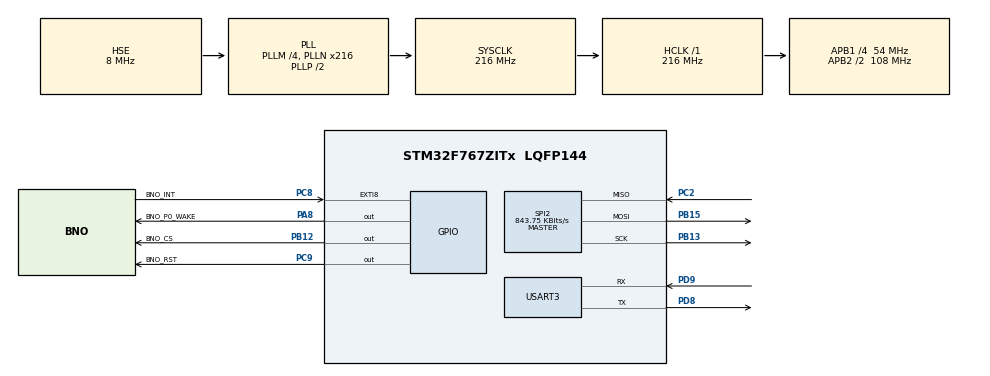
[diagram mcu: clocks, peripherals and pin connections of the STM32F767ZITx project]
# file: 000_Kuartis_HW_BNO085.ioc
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CORTEX_M7.default_mode_Activation=1
FREERTOS.Tasks01=SensorTask,24,512,StartSensorTask,Default,NULL,Dynamic,NULL,NULL;CommunicationTask,16,512,StartCommunicationTask,Default,NULL,Dynamic,NULL,NULL
FREERTOS.configCHECK_FOR_STACK_OVERFLOW=2
FREERTOS.configMAX_TASK_NAME_LEN=50
FREERTOS.configUSE_MALLOC_FAILED_HOOK=1
Mcu.Family=STM32F7
Mcu.Name=STM32F767ZITx
Mcu.Package=LQFP144
NVIC.EXTI9_5_IRQn=true\:6\:0\:true\:false\:true\:true\:true\:true\:true
NVIC.PriorityGroup=NVIC_PRIORITYGROUP_4
NVIC.TIM6_DAC_IRQn=true\:15\:0\:false\:false\:true\:false\:false\:true\:true
NVIC.TimeBase=TIM6_DAC_IRQn
NVIC.TimeBaseIP=TIM6
NVIC.USART3_IRQn=true\:7\:0\:true\:false\:true\:true\:true\:true\:true
PA13.Mode=Serial_Wire
PA13.Signal=SYS_JTMS-SWDIO
PA14.Mode=Serial_Wire
PA14.Signal=SYS_JTCK-SWCLK
PA8.GPIO_Label=BNO_P0_WAKE
PA8.PinState=GPIO_PIN_SET
PA8.Signal=GPIO_Output
PB12.GPIO_Label=BNO_CS
PB12.PinState=GPIO_PIN_SET
PB12.Signal=GPIO_Output
PB13.Mode=Full_Duplex_Master
PB13.Signal=SPI2_SCK
PB15.Mode=Full_Duplex_Master
PB15.Signal=SPI2_MOSI
PC2.Mode=Full_Duplex_Master
PC2.Signal=SPI2_MISO
PC8.GPIO_Label=BNO_INT
PC8.GPIO_ModeDefaultEXTI=GPIO_MODE_IT_FALLING
PC8.Signal=GPXTI8
PC9.GPIO_Label=BNO_RST
PC9.PinState=GPIO_PIN_SET
PC9.Signal=GPIO_Output
PD8.Mode=Asynchronous
PD8.Signal=USART3_TX
PD9.Mode=Asynchronous
PD9.Signal=USART3_RX
PH0/OSC_IN.Mode=HSE-External-Clock-Source
PH0/OSC_IN.Signal=RCC_OSC_IN
PH1/OSC_OUT.Mode=HSE-External-Clock-Source
PH1/OSC_OUT.Signal=RCC_OSC_OUT
ProjectManager.HeapSize=0x200
ProjectManager.StackSize=0x400
ProjectManager.TargetToolchain=STM32CubeIDE
RCC.48MHZClocksFreq_Value=24000000
RCC.AHBFreq_Value=216000000
RCC.APB1CLKDivider=RCC_HCLK_DIV4
RCC.APB1Freq_Value=54000000
RCC.APB1TimFreq_Value=108000000
RCC.APB2CLKDivider=RCC_HCLK_DIV2
RCC.APB2Freq_Value=108000000
RCC.APB2TimFreq_Value=216000000
RCC.CortexFreq_Value=216000000
RCC.HCLKFreq_Value=216000000
RCC.HSE_VALUE=8000000
RCC.HSI_VALUE=16000000
RCC.PLLM=4
RCC.PLLMUL=RCC_PLL_MUL9
RCC.PLLN=216
RCC.PLLQ=4
RCC.PLLSourceVirtual=RCC_PLLSOURCE_HSE
RCC.PRESCALERUSB=RCC_USBCLKSOURCE_PLL_DIV1_5
RCC.SYSCLKFreq_VALUE=216000000
RCC.SYSCLKSource=RCC_SYSCLKSOURCE_PLLCLK
RCC.SYSCLKSourceVirtual=RCC_SYSCLKSOURCE_PLLCLK
RCC.USBFreq_Value=108000000
RCC.VCOOutputFreq_Value=432000000
SPI2.BaudRatePrescaler=SPI_BAUDRATEPRESCALER_64
SPI2.CLKPhase=SPI_PHASE_2EDGE
SPI2.CLKPolarity=SPI_POLARITY_HIGH
SPI2.CalculateBaudRate=843.75 KBits/s
SPI2.DataSize=SPI_DATASIZE_8BIT
SPI2.Direction=SPI_DIRECTION_2LINES
SPI2.Mode=SPI_MODE_MASTER
SPI2.VirtualType=VM_MASTER
USART3.VirtualMode-Asynchronous=VM_ASYNC
VP_FREERTOS_VS_CMSIS_V2.Mode=CMSIS_V2
VP_SYS_VS_tim6.Mode=TIM6
board=NUCLEO-F767ZI

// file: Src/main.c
/* USER CODE BEGIN Header */
/**
  ******************************************************************************
  * @file           : main.c
  * @brief          : Main program body
  ******************************************************************************
  * @attention
  *
  * Copyright (c) 2026 STMicroelectronics.
  * All rights reserved.
  *
  * This software is licensed under terms that can be found in the LICENSE file
  * in the root directory of this software component.
  * If no LICENSE file comes with this software, it is provided AS-IS.
  *
  ******************************************************************************
  */
/* USER CODE END Header */
#include "main.h"
#include "cmsis_os.h"
#include "spi.h"
#include "usart.h"
#include "gpio.h"

/* USER CODE BEGIN Includes */
#include "bno085.h"
#include "uart_tx.h"
/* USER CODE END Includes */

void SystemClock_Config(void);
static void MPU_Config(void);
void MX_FREERTOS_Init(void);

int main(void)
{

  /* MPU Configuration--------------------------------------------------------*/
  MPU_Config();

  /* MCU Configuration--------------------------------------------------------*/

  /* Reset of all peripherals, Initializes the Flash interface and the Systick. */
  HAL_Init();

  /* Configure the system clock */
  SystemClock_Config();

  /* Initialize all configured peripherals */
  MX_GPIO_Init();
  MX_SPI2_Init();
  MX_USART3_UART_Init();

  /* Init scheduler */
  osKernelInitialize();  /* Call init function for freertos objects (in cmsis_os2.c) */
  MX_FREERTOS_Init();

  /* Start scheduler */
  osKernelStart();

  /* We should never get here as control is now taken by the scheduler */

  /* Infinite loop */
  while (1)
  {

  }
}

void SystemClock_Config(void)
{
  RCC_OscInitTypeDef RCC_OscInitStruct = {0};
  RCC_ClkInitTypeDef RCC_ClkInitStruct = {0};

  /** Configure the main internal regulator output voltage
  */
  __HAL_RCC_PWR_CLK_ENABLE();
  __HAL_PWR_VOLTAGESCALING_CONFIG(PWR_REGULATOR_VOLTAGE_SCALE1);

  /** Initializes the RCC Oscillators according to the specified parameters
  * in the RCC_OscInitTypeDef structure.
  */
  RCC_OscInitStruct.OscillatorType = RCC_OSCILLATORTYPE_HSE;
  RCC_OscInitStruct.HSEState = RCC_HSE_BYPASS;
  RCC_OscInitStruct.PLL.PLLState = RCC_PLL_ON;
  RCC_OscInitStruct.PLL.PLLSource = RCC_PLLSOURCE_HSE;
  RCC_OscInitStruct.PLL.PLLM = 4;
  RCC_OscInitStruct.PLL.PLLN = 216;
  RCC_OscInitStruct.PLL.PLLP = RCC_PLLP_DIV2;
  RCC_OscInitStruct.PLL.PLLQ = 4;
  RCC_OscInitStruct.PLL.PLLR = 2;
  if (HAL_RCC_OscConfig(&RCC_OscInitStruct) != HAL_OK)
  {
    Error_Handler();
  }

  /** Activate the Over-Drive mode
  */
  if (HAL_PWREx_EnableOverDrive() != HAL_OK)
  {
    Error_Handler();
  }

  /** Initializes the CPU, AHB and APB buses clocks
  */
  RCC_ClkInitStruct.ClockType = RCC_CLOCKTYPE_HCLK|RCC_CLOCKTYPE_SYSCLK
                              |RCC_CLOCKTYPE_PCLK1|RCC_CLOCKTYPE_PCLK2;
  RCC_ClkInitStruct.SYSCLKSource = RCC_SYSCLKSOURCE_PLLCLK;
  RCC_ClkInitStruct.AHBCLKDivider = RCC_SYSCLK_DIV1;
  RCC_ClkInitStruct.APB1CLKDivider = RCC_HCLK_DIV4;
  RCC_ClkInitStruct.APB2CLKDivider = RCC_HCLK_DIV2;

  if (HAL_RCC_ClockConfig(&RCC_ClkInitStruct, FLASH_LATENCY_7) != HAL_OK)
  {
    Error_Handler();
  }
}

/* USER CODE BEGIN 4 */
void HAL_GPIO_EXTI_Callback(uint16_t GPIO_Pin)
{
    if (GPIO_Pin == BNO_INT_Pin)
    {
        BNO085_NotifyInterrupt();
    }
}

void HAL_UART_TxCpltCallback(UART_HandleTypeDef *huart)
{
    UART_TX_TxCpltCallback(huart);
}
/* USER CODE END 4 */

 /* MPU Configuration */

void MPU_Config(void)
{
  MPU_Region_InitTypeDef MPU_InitStruct = {0};

  /* Disables the MPU */
  HAL_MPU_Disable();

  /** Initializes and configures the Region and the memory to be protected
  */
  MPU_InitStruct.Enable = MPU_REGION_ENABLE;
  MPU_InitStruct.Number = MPU_REGION_NUMBER0;
  MPU_InitStruct.BaseAddress = 0x0;
  MPU_InitStruct.Size = MPU_REGION_SIZE_4GB;
  MPU_InitStruct.SubRegionDisable = 0x87;
  MPU_InitStruct.TypeExtField = MPU_TEX_LEVEL0;
  MPU_InitStruct.AccessPermission = MPU_REGION_NO_ACCESS;
  MPU_InitStruct.DisableExec = MPU_INSTRUCTION_ACCESS_DISABLE;
  MPU_InitStruct.IsShareable = MPU_ACCESS_SHAREABLE;
  MPU_InitStruct.IsCacheable = MPU_ACCESS_NOT_CACHEABLE;
  MPU_InitStruct.IsBufferable = MPU_ACCESS_NOT_BUFFERABLE;

  HAL_MPU_ConfigRegion(&MPU_InitStruct);
  /* Enables the MPU */
  HAL_MPU_Enable(MPU_PRIVILEGED_DEFAULT);

}

void HAL_TIM_PeriodElapsedCallback(TIM_HandleTypeDef *htim)
{
  if (htim->Instance == TIM6)
  {
    HAL_IncTick();
  }
}

void Error_Handler(void)
{
  __disable_irq();
  while (1)
  {
  }
}

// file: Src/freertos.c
/* USER CODE BEGIN Header */
/**
  ******************************************************************************
  * File Name          : freertos.c
  * Description        : Code for freertos applications
  ******************************************************************************
  * @attention
  *
  * Copyright (c) 2026 STMicroelectronics.
  * All rights reserved.
  *
  * This software is licensed under terms that can be found in the LICENSE file
  * in the root directory of this software component.
  * If no LICENSE file comes with this software, it is provided AS-IS.
  *
  ******************************************************************************
  */
/* USER CODE END Header */

#include "FreeRTOS.h"
#include "task.h"
#include "main.h"
#include "cmsis_os.h"

/* USER CODE BEGIN Includes */
#include "bno085.h"
#include "heading.h"
#include "kalman_1d.h"
#include "nmea.h"
#include "usart.h"
#include "uart_tx.h"
/* USER CODE END Includes */

/* USER CODE BEGIN PTD */

/*DEBUG Variables*/
typedef struct
{
    /* Calibrated, unfiltered magnetometer data */
    float x_uT;
    float y_uT;
    float z_uT;

    /* Kalman-filtered magnetometer data */
    float filtered_x_uT;
    float filtered_y_uT;

    /* Heading comparison */
    float heading_deg;
    float filtered_heading_deg;

    /* Calibration status */
    uint8_t accuracy;
    uint8_t calibration_ok;

} BNO085_DebugView_t;

typedef struct
{
	float heading_deg; // Fİltered heading value
}HeadingMessage_t;

typedef enum
{
    SENSOR_STATE_STARTUP = 0U,
    SENSOR_STATE_WAIT_PRODUCT_ID,
    SENSOR_STATE_CALIBRATING,
    SENSOR_STATE_RUNNING,
    SENSOR_STATE_RECOVERY

} SensorState_t;

typedef enum
{
    SENSOR_ERROR_NONE = 0U,
    SENSOR_ERROR_INIT,
    SENSOR_ERROR_PRODUCT_ID_TIMEOUT,
    SENSOR_ERROR_COMMUNICATION,
    SENSOR_ERROR_CONFIGURATION,
    SENSOR_ERROR_DATA_TIMEOUT

} SensorError_t;

typedef enum
{
    COMM_ERROR_NONE = 0U,
    COMM_ERROR_QUEUE_FULL,
    COMM_ERROR_NMEA_FORMAT,
    COMM_ERROR_UART_BUSY,
    COMM_ERROR_UART

} CommunicationError_t;

typedef struct
{
    SensorState_t sensor_state;

    SensorError_t sensor_error;						 /* Last detected sensor error */
    CommunicationError_t communication_error;		/* Last detected communication error */

    uint32_t sensor_recovery_count;
    uint32_t queue_drop_count;
    uint32_t nmea_error_count;
    uint32_t uart_busy_count;
    uint32_t uart_error_count;

} SystemStatus_t;

/* USER CODE END PTD */

/* USER CODE BEGIN PD */
#define BNO_MAG_CAL_INTERVAL_US    20000U // 50 Hz for calibration
#define BNO_MAG_RUN_INTERVAL_US   100000U // 10 HZ for mag run

#define MAG_KALMAN_Q_UT2_PER_S    0.25f

#define MAG_KALMAN_X_R_UT2        0.433f
#define MAG_KALMAN_Y_R_UT2        0.393f

#define MAG_KALMAN_P0_UT2         1.0f

#define BNO_PRODUCT_ID_TIMEOUT_MS    1000U
#define BNO_DATA_TIMEOUT_MS           500U
#define BNO_RECOVERY_DELAY_MS        1000U
/* USER CODE END PD */

/* USER CODE BEGIN Variables */
static volatile BNO085_DebugView_t bno_debug_view = {0}; // It's for debug
static osMessageQueueId_t heading_queue_handle;

static volatile SystemStatus_t system_status =
{
    .sensor_state = SENSOR_STATE_STARTUP,
    .sensor_error = SENSOR_ERROR_NONE,
    .communication_error = COMM_ERROR_NONE
};

/* USER CODE END Variables */
/* Definitions for SensorTask */
osThreadId_t SensorTaskHandle;
const osThreadAttr_t SensorTask_attributes = {
  .name = "SensorTask",
  .stack_size = 512 * 4,
  .priority = (osPriority_t) osPriorityNormal,
};
/* Definitions for CommunicationTask */
osThreadId_t CommunicationTaskHandle;
const osThreadAttr_t CommunicationTask_attributes = {
  .name = "CommunicationTask",
  .stack_size = 512 * 4,
  .priority = (osPriority_t) osPriorityBelowNormal,
};

void StartSensorTask(void *argument);
void StartCommunicationTask(void *argument);

void MX_FREERTOS_Init(void); /* (MISRA C 2004 rule 8.1) */

/* Hook prototypes */
void vApplicationStackOverflowHook(xTaskHandle xTask, signed char *pcTaskName);
void vApplicationMallocFailedHook(void);

/* USER CODE BEGIN 4 */
void vApplicationStackOverflowHook(xTaskHandle xTask, signed char *pcTaskName)
{
   /* Run time stack overflow checking is performed if
   configCHECK_FOR_STACK_OVERFLOW is defined to 1 or 2. This hook function is
   called if a stack overflow is detected. */
	(void)xTask;
	(void)pcTaskName;

	Error_Handler();
}

/* USER CODE END 4 */

/* USER CODE BEGIN 5 */
void vApplicationMallocFailedHook(void)
{
   /* vApplicationMallocFailedHook() will only be called if
   configUSE_MALLOC_FAILED_HOOK is set to 1 in FreeRTOSConfig.h. It is a hook
   function that will get called if a call to pvPortMalloc() fails.
   pvPortMalloc() is called internally by the kernel whenever a task, queue,
   timer or semaphore is created. It is also called by various parts of the
   demo application. If heap_1.c or heap_2.c are used, then the size of the
   heap available to pvPortMalloc() is defined by configTOTAL_HEAP_SIZE in
   FreeRTOSConfig.h, and the xPortGetFreeHeapSize() API function can be used
   to query the size of free heap space that remains (although it does not
   provide information on how the remaining heap might be fragmented). */
	Error_Handler();
}
/* USER CODE END 5 */

void MX_FREERTOS_Init(void) {

  /* USER CODE BEGIN RTOS_QUEUES */
	heading_queue_handle = osMessageQueueNew(4U, sizeof(HeadingMessage_t), NULL);
	if(heading_queue_handle == NULL)
	{
		Error_Handler();
	}
  /* add queues, ... */
  /* USER CODE END RTOS_QUEUES */

  /* Create the thread(s) */
  /* creation of SensorTask */
  SensorTaskHandle = osThreadNew(StartSensorTask, NULL, &SensorTask_attributes);

  /* creation of CommunicationTask */
  CommunicationTaskHandle = osThreadNew(StartCommunicationTask, NULL, &CommunicationTask_attributes);

}

void StartSensorTask(void *argument)
{
  /* USER CODE BEGIN StartSensorTask */
	BNO085_MagData_t mag_data = {0};

	Kalman1D_t mag_x_filter = {0};
	Kalman1D_t mag_y_filter = {0};

	uint32_t previous_filter_tick = 0U;
	uint8_t filter_time_valid = 0U; // First sample flag

	uint32_t state_start_tick = 0U;
	uint32_t last_data_tick = 0U;

	(void)argument;

	/*
	 * Initialize independent scalar Kalman filters	 * for magnetic X and Y components.
	 *
	 */
	if (Kalman1D_Init(&mag_x_filter, MAG_KALMAN_Q_UT2_PER_S, MAG_KALMAN_X_R_UT2,MAG_KALMAN_P0_UT2) == 0U)
	{
		Error_Handler();
	}

	if (Kalman1D_Init(&mag_y_filter,MAG_KALMAN_Q_UT2_PER_S,MAG_KALMAN_Y_R_UT2,MAG_KALMAN_P0_UT2) == 0U)
	{
		Error_Handler();
	}

	system_status.sensor_state = SENSOR_STATE_STARTUP; // Init state

	for (;;)
	{
		switch(system_status.sensor_state)
		{
		case SENSOR_STATE_STARTUP:
		{
			bno_debug_view.calibration_ok = 0U;
			filter_time_valid = 0U;

			if(BNO085_Init() == HAL_OK)
			{
				state_start_tick = HAL_GetTick();
				system_status.sensor_state = SENSOR_STATE_WAIT_PRODUCT_ID; // After succes initialization, swtich the state
			}
			else // If initialization is not succesful
			{
				system_status.sensor_error = SENSOR_ERROR_INIT;
				system_status.sensor_recovery_count++; // System recovery counter
				state_start_tick = HAL_GetTick();
				system_status.sensor_state = SENSOR_STATE_RECOVERY; // Go to recovery state after initialization error

			}
			break;
		}
		case SENSOR_STATE_WAIT_PRODUCT_ID:
		{
			BNO085_Process();

			if (BNO085_GetLastStatus() != HAL_OK)
			{
				system_status.sensor_error = SENSOR_ERROR_COMMUNICATION;
				system_status.sensor_recovery_count++;
				state_start_tick = HAL_GetTick();
				system_status.sensor_state = SENSOR_STATE_RECOVERY; // Go to recovery state if BNO085 state is not OK

				break;
			}
			if(BNO085_IsProductIDReceived() != 0U)
			{
				if(BNO085_EnableMagCalibration() != HAL_OK)
				{
					system_status.sensor_error = SENSOR_ERROR_CONFIGURATION; // Mag calibration is not started succesfully
					system_status.sensor_recovery_count++;
					state_start_tick = HAL_GetTick();

					system_status.sensor_state = SENSOR_STATE_RECOVERY;

					break;
				}
				if(BNO085_EnableMagnetometer(BNO_MAG_CAL_INTERVAL_US) != HAL_OK)
				{
					system_status.sensor_error = SENSOR_ERROR_CONFIGURATION;
					system_status.sensor_recovery_count++;
					state_start_tick = HAL_GetTick();
					system_status.sensor_state = SENSOR_STATE_RECOVERY;

					break;
				}
				last_data_tick = HAL_GetTick();
				system_status.sensor_state = SENSOR_STATE_CALIBRATING; // Mag is enable and mag calibration is started.
			}
			else if((HAL_GetTick() - state_start_tick) >= BNO_PRODUCT_ID_TIMEOUT_MS)
			{
				system_status.sensor_error = SENSOR_ERROR_PRODUCT_ID_TIMEOUT;
				system_status.sensor_recovery_count++;
				state_start_tick = HAL_GetTick();
				system_status.sensor_state = SENSOR_STATE_RECOVERY;
			}
			break;
		}

		case SENSOR_STATE_CALIBRATING:
		{
			BNO085_Process();

			if(BNO085_GetLastStatus() != HAL_OK)
			{
				system_status.sensor_error =  SENSOR_ERROR_COMMUNICATION;
				system_status.sensor_recovery_count++;
				state_start_tick = HAL_GetTick();
			    system_status.sensor_state = SENSOR_STATE_RECOVERY;

			    break;
			}
			if (BNO085_GetMagnetometer(&mag_data) != 0U)
			{
				float raw_heading_deg;

				last_data_tick = HAL_GetTick();

				/*Debug variables*/
				bno_debug_view.x_uT = mag_data.x_uT;
				bno_debug_view.y_uT = mag_data.y_uT;
				bno_debug_view.z_uT = mag_data.z_uT;
				bno_debug_view.accuracy = mag_data.accuracy;

				if(Heading_Calculate(mag_data.x_uT, mag_data.y_uT, &raw_heading_deg) != 0U)
				{
					bno_debug_view.heading_deg =  raw_heading_deg; // DEBUG Variable for raw heading.
				}

				if(mag_data.accuracy == 3U) // If calibration is succesfull and accuracy is high
				{
					if(BNO085_EnableMagnetometer(BNO_MAG_RUN_INTERVAL_US) != HAL_OK) // MAG config 10 HZ
					{
						system_status.sensor_error = SENSOR_ERROR_CONFIGURATION;
						system_status.sensor_recovery_count++;
						state_start_tick = HAL_GetTick();

						system_status.sensor_state = SENSOR_STATE_RECOVERY;

						break;
					}
					bno_debug_view.calibration_ok = 1U; // Calibration is done

					/* Reset Kalman Filter */
					Kalman1D_Reset(&mag_x_filter);
					Kalman1D_Reset(&mag_y_filter);

					filter_time_valid = 0U;
					last_data_tick = HAL_GetTick();

					system_status.sensor_state = SENSOR_STATE_RUNNING;
				}
			}
			else if((HAL_GetTick() - last_data_tick) >= BNO_DATA_TIMEOUT_MS)
			{
				system_status.sensor_error = SENSOR_ERROR_DATA_TIMEOUT;

				system_status.sensor_recovery_count++;

				state_start_tick = HAL_GetTick();

				system_status.sensor_state = SENSOR_STATE_RECOVERY;
			}
			break;
		}

		case SENSOR_STATE_RUNNING:
		{
			BNO085_Process();

			if(BNO085_GetLastStatus() != HAL_OK)
			{
				system_status.sensor_error = SENSOR_ERROR_COMMUNICATION;

				system_status.sensor_recovery_count++;

				state_start_tick = HAL_GetTick();

				system_status.sensor_state = SENSOR_STATE_RECOVERY;

				break;
			}
			if(BNO085_GetMagnetometer(&mag_data) != 0U)
			{
				float raw_heading_deg;

				/*Kalman Filter outputs*/
				float filtered_x_uT;
				float filtered_y_uT;
				float filtered_heading_deg;

				float dt_s = 0.0f; // Sample time

				uint32_t current_tick = HAL_GetTick();

				last_data_tick = current_tick;

				/*Debug variables*/
				bno_debug_view.x_uT = mag_data.x_uT;
				bno_debug_view.y_uT = mag_data.y_uT;
				bno_debug_view.z_uT = mag_data.z_uT;
				bno_debug_view.accuracy = mag_data.accuracy;

				if (Heading_Calculate(mag_data.x_uT, mag_data.y_uT, &raw_heading_deg) != 0U)
				{
					bno_debug_view.heading_deg = raw_heading_deg;
				}

				if(filter_time_valid != 0U)
				{
					dt_s = (float)(current_tick - previous_filter_tick ) * 0.001f;
				}
				else
				{
					filter_time_valid = 1U;
				}

				previous_filter_tick = current_tick;

				if ((Kalman1D_Update(&mag_x_filter, mag_data.x_uT, dt_s,&filtered_x_uT) != 0U)&& (Kalman1D_Update(&mag_y_filter, mag_data.y_uT, dt_s,&filtered_y_uT) != 0U))
				{
					/*DEBUG variables*/
					 bno_debug_view.filtered_x_uT =  filtered_x_uT;
					 bno_debug_view.filtered_y_uT =  filtered_y_uT;

					 if(Heading_Calculate(filtered_x_uT, filtered_y_uT, &filtered_heading_deg) != 0U)
					 {
						 HeadingMessage_t heading_message;
						 bno_debug_view.filtered_heading_deg = filtered_heading_deg;

						 heading_message.heading_deg = filtered_heading_deg; // Read filtered heading for queue

						 if(osMessageQueuePut(heading_queue_handle, &heading_message, 0U, 0U) != osOK)
						 {
							 system_status.communication_error = COMM_ERROR_QUEUE_FULL;

							 system_status.queue_drop_count++;
						 }
					 }
				}
			}
			else if((HAL_GetTick() - last_data_tick) >= BNO_DATA_TIMEOUT_MS)
			{
				system_status.sensor_error = SENSOR_ERROR_DATA_TIMEOUT;
				system_status.sensor_recovery_count++;

				state_start_tick = HAL_GetTick();

				system_status.sensor_state = SENSOR_STATE_RECOVERY;
			}
			break;
		}

		case SENSOR_STATE_RECOVERY:
		{
			if( (HAL_GetTick() - state_start_tick) >= BNO_RECOVERY_DELAY_MS)
			{
				filter_time_valid = 0U;

				system_status.sensor_state = SENSOR_STATE_STARTUP;
			}
			break;
		}

		default:
		{
			system_status.sensor_error = SENSOR_ERROR_CONFIGURATION;
			system_status.sensor_recovery_count++;
			state_start_tick = HAL_GetTick();

			system_status.sensor_state = SENSOR_STATE_RECOVERY;

			break;
		}

	  }

	   osDelay(1U);
	}
  /* USER CODE END StartSensorTask */
}

void StartCommunicationTask(void *argument)
{
    /* USER CODE BEGIN StartCommunicationTask */

    HeadingMessage_t heading_message;
    char nmea_sentence[NMEA_HDM_BUFFER_SIZE];

    (void)argument;

    if (UART_TX_Init(&huart3) != HAL_OK)
    {
        Error_Handler();
    }

    for (;;)
    {
        if (osMessageQueueGet(heading_queue_handle,&heading_message, NULL,osWaitForever) == osOK)
        {
            size_t nmea_length;

            nmea_length =  NMEA_FormatHDM(heading_message.heading_deg,nmea_sentence,sizeof(nmea_sentence));

            if (nmea_length == 0U)
            {
                system_status.communication_error = COMM_ERROR_NMEA_FORMAT;

                system_status.nmea_error_count++;

                continue;
            }

            HAL_StatusTypeDef tx_status =  UART_TX_Write((const uint8_t *)nmea_sentence,  (uint16_t)nmea_length);

            if (tx_status == HAL_BUSY)
            {
                system_status.communication_error = COMM_ERROR_UART_BUSY;

                system_status.uart_busy_count++;
            }
            else if (tx_status != HAL_OK)
            {
                system_status.communication_error = COMM_ERROR_UART;

                system_status.uart_error_count++;
            }
        }
    }

    /* USER CODE END StartCommunicationTask */
}
